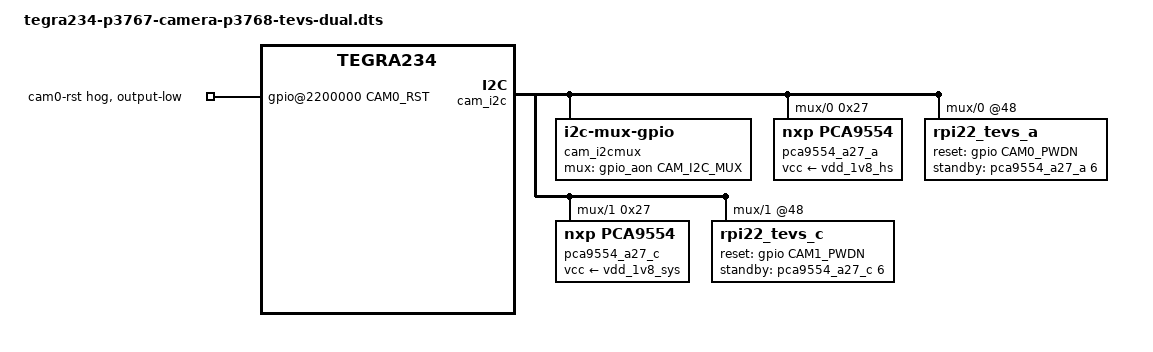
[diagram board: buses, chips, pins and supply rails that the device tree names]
// SPDX-License-Identifier: GPL-2.0-only
// SPDX-FileCopyrightText: Copyright (c) 2023, NVIDIA CORPORATION & AFFILIATES. All rights reserved.

/dts-v1/;
/plugin/;

#define CAM0_RST        TEGRA234_MAIN_GPIO(H, 3)
#define CAM0_PWDN	TEGRA234_MAIN_GPIO(H, 6)
#define CAM1_PWDN	TEGRA234_MAIN_GPIO(AC, 0)
#define CAM_I2C_MUX 	TEGRA234_AON_GPIO(CC, 3)

#include <dt-bindings/tegra234-p3767-0000-common.h>
#include "tegra234-camera-rpi22-tevs.dtsi"

/ {
	overlay-name = "TechNexion Camera TEVS Dual";
	jetson-header-name = "Jetson 24pin CSI Connector";
	compatible = JETSON_COMPATIBLE_P3768;

	fragment-camera-tevs@0 {
		target-path = "/";
		__overlay__ {
			bus@0 {
				cam_i2cmux{
					status = "okay";
					compatible = "i2c-mux-gpio";
					#address-cells = <1>;
					#size-cells = <0>;
					i2c-parent = <&cam_i2c>;
					mux-gpios = <&gpio_aon CAM_I2C_MUX GPIO_ACTIVE_HIGH>;
					i2c@0 {
						status = "okay";
						reg = <0>;
						#address-cells = <1>;
						#size-cells = <0>;

						pca9554_a27_a: pca9554_a@27 {
							compatible = "nxp,pca9554";
							reg = <0x27>;
							gpio-controller;
							#gpio-cells = <2>;
							vcc-supply = <&vdd_1v8_hs>;
							vcc_lp = "vcc";
							status = "okay";
						};

						rpi22_tevs_a@48 {
							reset-gpios = <&gpio CAM0_PWDN GPIO_ACTIVE_HIGH>;
							standby-gpios = <&pca9554_a27_a 6 GPIO_ACTIVE_HIGH>;
							data-lanes = <2>;
							status = "okay";
						};
					};
					i2c@1 {
						status = "okay";
						reg = <1>;
						#address-cells = <1>;
						#size-cells = <0>;

						pca9554_a27_c: pca9554_c@27 {
							compatible = "nxp,pca9554";
							reg = <0x27>;
							gpio-controller;
							#gpio-cells = <2>;
							vcc-supply = <&vdd_1v8_sys>;
							vcc_lp = "vcc";
							status = "okay";
						};

						rpi22_tevs_c@48 {
							reset-gpios = <&gpio CAM1_PWDN GPIO_ACTIVE_HIGH>;
							standby-gpios = <&pca9554_a27_c 6 GPIO_ACTIVE_HIGH>;
							data-lanes = <4>;
							status = "okay";
						};
					};
				};
				gpio@2200000 {
					camera-control-output-low {
						gpio-hog;
						output-low;
						gpios = <CAM0_RST 0>;
						label = "cam0-rst";
					};
				};
			};
		};
	};
};
